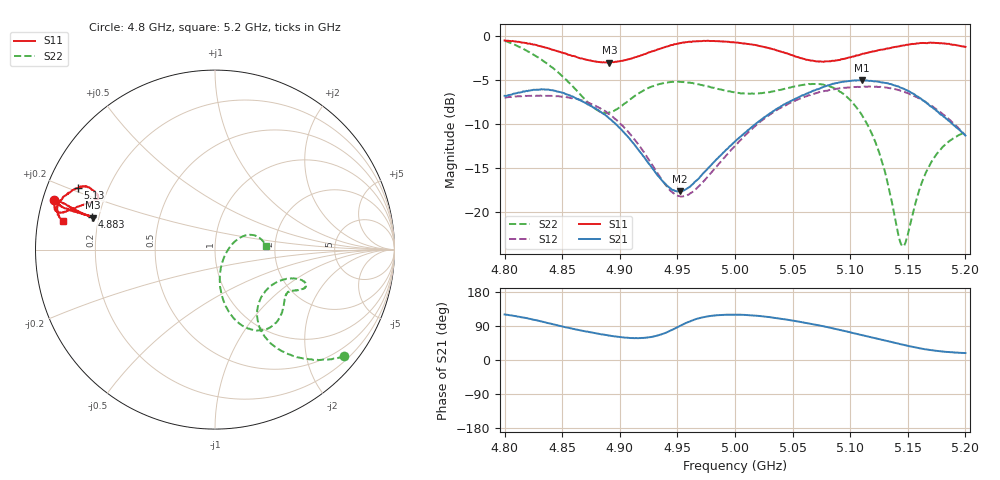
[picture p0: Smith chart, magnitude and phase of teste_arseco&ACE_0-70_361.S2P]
! Network Analyzer HP8722D
! Hewlett-Packard
! Data name: Linha & Wilkinson
! Saver's name: Rodrigo Anjos
! Comments: Teste da utilização de aquisição
! continua pelo VNA HP8722D
! Time and date: 8/5/2025 15:46
!  Frequency  S11  S21  S12  S22
# HZ  S  MA R 50
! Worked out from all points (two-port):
!   401 points, 4.8 GHz to 5.2 GHz, reference 50 ohm
!   highest |S21| = -5.07 dB at 5.11 GHz (marker M1); lowest = -17.7 dB at 4.952 GHz (marker M2)
!   |S21| within 3 dB of the highest: start of sweep to 4.876 GHz; 5.039 GHz to 5.17 GHz (130.9 MHz wide, 2.56 % of centre)
!   lowest |S11| = -3.1 dB at 4.891 GHz (marker M3), VSWR 5.73, Z = 8.86 + j6.25 ohm
!   |S11| at or under -10 dB: nowhere
!   |S22| runs from -23.9 to -0.6 dB; largest |S21 - S12| = 0.73
!   S11 on the Smith chart (normalised r, x): 4.8 GHz: 0.03, +0.15; 4.883 GHz: 0.17, +0.13; 5.13 GHz: 0.09, +0.21; 5.2 GHz: 0.07, +0.09
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4.8e9  0.9384 163.0  0.4552 120.1  0.4447 15.5  0.9339 -39.6
4.831e9  0.8701 164.6  0.494 102.5  0.4571 5.7  0.7377 -53.5
4.867e9  0.7424 164.9  0.4247 77.3  0.4292 -10.0  0.4545 -58.6
4.883e9  0.7069 165.2  0.3699 68.4  0.3869 -19.3  0.3691 -45.6
4.891e9  0.703 165.3  0.3381 64.4  0.3576 -23.9  0.3663 -35.9
4.909e9  0.7388 165.0  0.2574 58.0  0.2762 -32.3  0.4346 -21.9
4.934e9  0.8381 163.8  0.1581 65.7  0.1612 -29.2  0.5301 -19.8
4.952e9  0.9048 162.8  0.1306 89.6  0.1228 -4.6  0.5463 -22.3
4.967e9  0.9287 163.0  0.1513 108.8  0.1366 18.3  0.5308 -24.7
5e9  0.9154 166.2  0.251 119.4  0.2372 37.5  0.4759 -29.3
5.033e9  0.8365 164.7  0.3723 111.8  0.3662 32.4  0.4825 -36.7
5.067e9  0.7216 157.6  0.4839 94.8  0.4649 17.2  0.5317 -51.7
5.088e9  0.7235 155.1  0.538 81.4  0.4988 5.2  0.4955 -64.6
5.11e9  0.7851 153.8  0.558 66.0  0.5137 -8.1  0.3559 -77.4
5.121e9  0.8141 154.4  0.5497 58.1  0.5126 -15.3  0.2569 -81.6
5.13e9  0.8357 155.8  0.5386 51.6  0.5087 -21.0  0.1706 -81.1
5.134e9  0.8471 156.5  0.5315 48.7  0.5034 -23.9  0.1329 -77.6
5.142e9  0.8683 158.3  0.5144 43.1  0.4911 -29.1  0.07317 -52.5
5.146e9  0.8797 159.2  0.5009 40.2  0.4801 -31.7  0.06386 -24.2
5.161e9  0.908 162.7  0.4409 30.5  0.437 -40.7  0.1393 24.8
5.17e9  0.9132 164.6  0.3959 26.3  0.4012 -45.2  0.1894 24.9
5.2e9  0.863 169.3  0.271 18.3  0.2722 -54.1  0.2831 4.3
